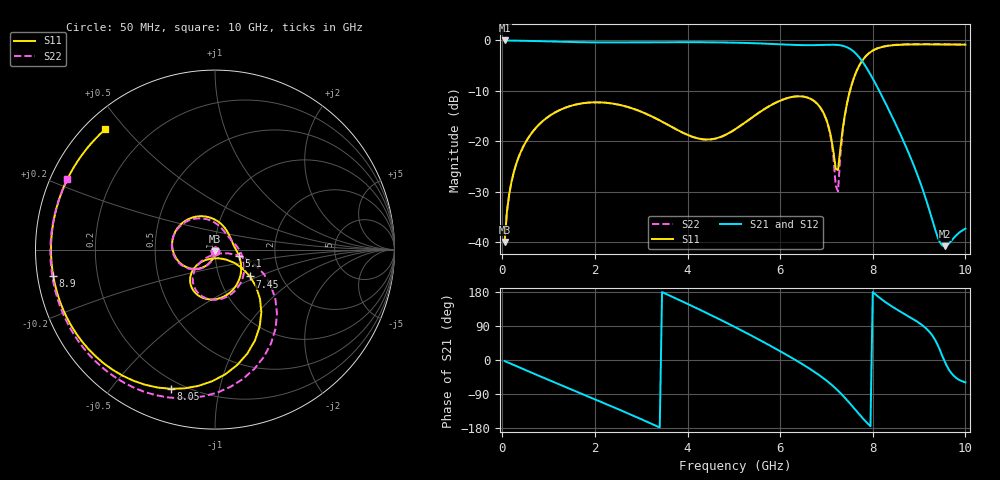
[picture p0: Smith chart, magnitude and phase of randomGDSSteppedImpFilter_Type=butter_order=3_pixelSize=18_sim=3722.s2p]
! freq	dB(S11)	phase(S11)	dB(S12)	phase(S12)
!  dB(S21)	phase(S21)	dB(S22)	phase(S22)
!S-par simulation data
#  GHz  S  DB  R 50
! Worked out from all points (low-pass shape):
!   200 points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, 50 MHz to 10 GHz, reference 50 ohm
!   highest |S21| = -0.01 dB at 50 MHz (marker M1); lowest = -40.8 dB at 9.55 GHz (marker M2)
!   |S21| within 3 dB of the highest: start of sweep to 7.674 GHz
!   lowest |S11| = -40.0 dB at 50 MHz (marker M3), VSWR 1.02, Z = 49.9 - j0.999 ohm
!   |S11| at or under -10 dB: start of sweep to 7.507 GHz
!   |S22| runs from -40.0 to -0.7 dB; largest |S21 - S12| = 0
!   S11 on the Smith chart (normalised r, x): 50 MHz: 1.00, -0.02; 5.1 GHz: 1.30, -0.09; 7.45 GHz: 1.40, -0.45; 8.05 GHz: 0.16, -0.72; 8.9 GHz: 0.05, -0.08; 10 GHz: 0.06, +0.44
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0.05  -39.99 -92.4  -0.01 -2.7  -0.01 -2.7  -39.99 -92.3
0.2  -27.99 -100.9  -0.03 -10.7  -0.03 -10.7  -27.99 -100.6
0.5  -20.26 -117.3  -0.07 -26.5  -0.07 -26.5  -20.26 -116.4
1.15  -14.23 -152.0  -0.24 -60.3  -0.24 -60.3  -14.23 -149.9
1.75  -12.45 176.6  -0.36 -90.9  -0.36 -90.9  -12.45 -180.0
2.5  -12.72 136.8  -0.40 -129.6  -0.40 -129.6  -12.73 142.6
3.4  -15.87 86.0  -0.34 -178.1  -0.34 -178.1  -15.88 96.6
4.15  -19.24 40.6  -0.35 139.4  -0.35 139.4  -19.27 56.6
5.05  -17.50 -11.9  -0.45 85.3  -0.45 85.3  -17.52 0.7
5.1  -17.19 -14.7  -0.46 82.2  -0.46 82.2  -17.21 -2.6
6  -11.95 -70.3  -0.77 23.2  -0.77 23.2  -11.94 -62.9
6.7  -11.81 -118.4  -0.94 -28.0  -0.94 -28.0  -11.81 -112.5
7.05  -17.21 -139.3  -0.85 -59.2  -0.85 -59.2  -17.45 -137.7
7.25  -25.69 -68.0  -0.91 -81.0  -0.91 -81.0  -29.93 -43.5
7.35  -17.61 -34.4  -1.06 -93.4  -1.06 -93.4  -18.07 -13.8
7.45  -12.18 -37.5  -1.38 -106.7  -1.38 -106.7  -12.29 -21.1
7.7  -5.14 -66.3  -3.27 -142.3  -3.27 -142.3  -5.12 -52.6
8.05  -1.79 -107.7  -8.42 174.0  -8.42 174.0  -1.74 -94.1
8.35  -1.05 -134.4  -13.84 146.3  -13.84 146.3  -1.00 -120.1
8.9  -0.79 -170.7  -25.13 105.8  -25.13 105.8  -0.74 -154.3
9.55  -0.80 154.7  -40.81 -2.9  -40.81 -2.9  -0.76 174.4
10  -0.85 132.3  -37.33 -58.9  -37.33 -58.9  -0.81 154.6
